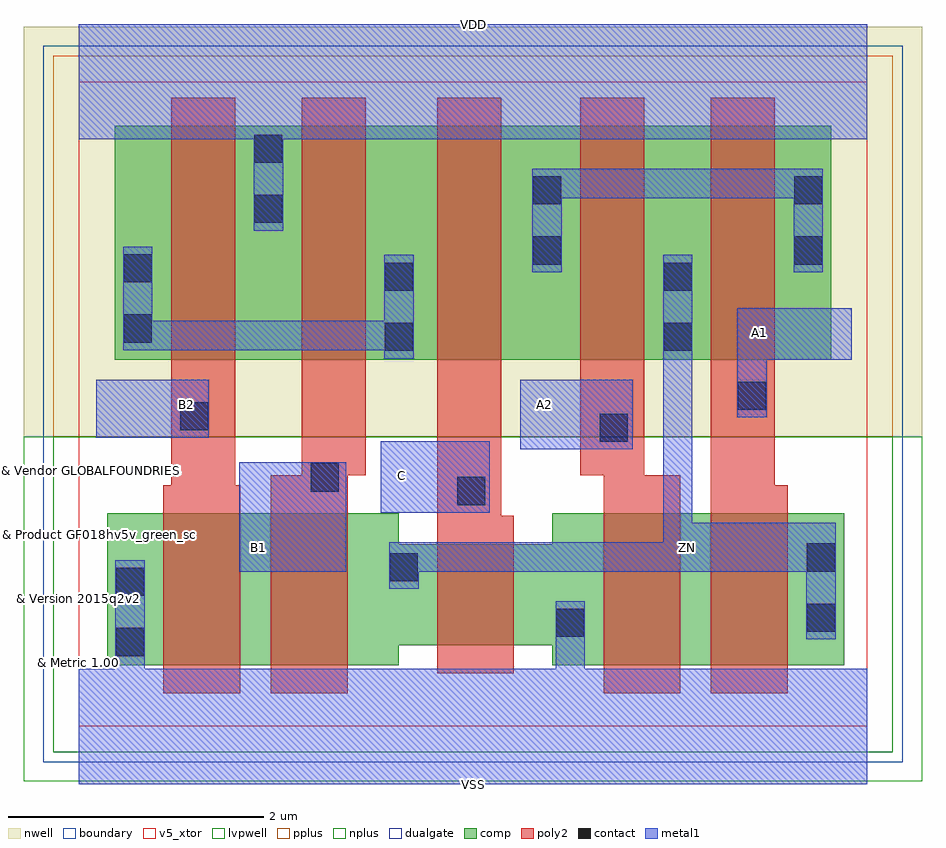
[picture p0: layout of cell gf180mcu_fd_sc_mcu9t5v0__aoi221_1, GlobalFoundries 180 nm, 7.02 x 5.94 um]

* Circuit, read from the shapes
.subckt gf180mcu_fd_sc_mcu9t5v0__aoi221_1 A1 A2 B1 B2 C VDD VSS ZN
XM1 n1 B2 VSS VSUBS nfet_05v0 w=1.185u l=0.6u
XM2 ZN B1 n1 VSUBS nfet_05v0 w=1.185u l=0.6u
XM3 VSS C ZN VSUBS nfet_05v0 w=0.79u l=0.6u
XM4 n2 A2 VSS VSUBS nfet_05v0 w=1.185u l=0.6u
XM5 ZN A1 n2 VSUBS nfet_05v0 w=1.185u l=0.6u
XM6 VDD B2 n3 n4 pfet_05v0 w=1.83u l=0.5u
XM7 n3 B1 VDD n4 pfet_05v0 w=1.83u l=0.5u
XM8 n5 C n3 n4 pfet_05v0 w=1.83u l=0.5u
XM9 ZN A2 n5 n4 pfet_05v0 w=1.83u l=0.5u
XM10 n5 A1 ZN n4 pfet_05v0 w=1.83u l=0.5u
.ends

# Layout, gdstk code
import gdstk
lib = gdstk.Library(unit=1e-6, precision=1e-09)
def R(c, l, rs):  # rectangles x0, y0, x1, y1
    for r in rs: c.add(gdstk.rectangle(r[:2], r[2:], *l))
def P(c, l, *ps):  # polygons
    for p in ps: c.add(gdstk.Polygon(p, *l))
boundary = (0, 0)
nwell = (21, 0)
comp = (22, 0)
poly2 = (30, 0)
pplus = (31, 0)
nplus = (32, 0)
contact = (33, 0)
metal1 = (34, 0)
dualgate = (55, 0)
v5_xtor = (112, 1)
lvpwell = (204, 0)

gf180mcu_fd_sc_mcu9t5v0_ = lib.new_cell('gf180mcu_fd_sc_mcu9t5v0__aoi221_1')
R(gf180mcu_fd_sc_mcu9t5v0_, boundary, [(0,0,6.16,5.04)])
R(gf180mcu_fd_sc_mcu9t5v0_, nwell, [(-0.43,2.265,6.59,5.47)])
R(gf180mcu_fd_sc_mcu9t5v0_, comp, [(0.28,2.865,5.88,4.695)])
P(gf180mcu_fd_sc_mcu9t5v0_, comp, [(0.22,0.48),(0.22,1.665),(2.5,1.665),(2.5,1.425),(3.7,1.425),(3.7,1.665),(5.98,1.665),(5.98,0.48),(3.7,0.48),(3.7,0.635),(2.5,0.635),(2.5,0.48)])
P(gf180mcu_fd_sc_mcu9t5v0_, poly2, [(0.66,0.26),(0.66,1.885),(0.72,1.885),(0.72,4.915),(1.22,4.915),(1.22,1.885),(1.26,1.885),(1.26,0.26)],
  [(1.5,0.26),(1.5,1.965),(1.74,1.965),(1.74,4.915),(2.24,4.915),(2.24,1.965),(2.1,1.965),(2.1,0.26)],
  [(2.8,0.415),(2.8,4.915),(3.3,4.915),(3.3,1.645),(3.4,1.645),(3.4,0.415)],
  [(4.1,0.26),(4.1,1.965),(3.92,1.965),(3.92,4.915),(4.42,4.915),(4.42,1.965),(4.7,1.965),(4.7,0.26)],
  [(4.94,0.26),(4.94,4.915),(5.44,4.915),(5.44,1.885),(5.54,1.885),(5.54,0.26)])
R(gf180mcu_fd_sc_mcu9t5v0_, pplus, [(-0.2,2.265,6.36,5.24)])
R(gf180mcu_fd_sc_mcu9t5v0_, nplus, [(-0.2,-0.2,6.36,2.265)])
R(gf180mcu_fd_sc_mcu9t5v0_, contact, [(0.29,0.55,0.51,0.77), (3.73,0.7,3.95,0.92), (5.69,0.74,5.91,0.96), (0.29,1.02,0.51,1.24), (2.43,1.135,2.65,1.355), (5.69,1.21,5.91,1.43), (2.955,1.73,3.175,1.95), (1.81,1.835,2.03,2.055), (4.07,2.225,4.29,2.445), (0.79,2.315,1.01,2.535), (5.15,2.475,5.37,2.695), (2.39,2.935,2.61,3.155), (4.57,2.935,4.79,3.155), (0.35,3,0.57,3.22), (2.39,3.405,2.61,3.625), (4.57,3.405,4.79,3.625), (0.35,3.47,0.57,3.69), (3.55,3.61,3.77,3.83), (5.59,3.61,5.81,3.83), (1.37,3.935,1.59,4.155), (3.55,4.08,3.77,4.3), (5.59,4.08,5.81,4.3), (1.37,4.405,1.59,4.625)])
R(gf180mcu_fd_sc_mcu9t5v0_, metal1, [(1.255,1.21,2.09,2.065), (2.36,1.67,3.21,2.23), (3.45,2.165,4.33,2.71), (0.135,2.255,1.015,2.71)])
P(gf180mcu_fd_sc_mcu9t5v0_, metal1, [(2.385,2.875),(2.385,2.94),(0.345,2.94),(0.345,3.75),(0.575,3.75),(0.575,3.17),(2.385,3.17),(2.385,3.685),(2.615,3.685),(2.615,2.875)],
  [(3.545,3.55),(3.545,4.36),(5.815,4.36),(5.815,3.55),(5.585,3.55),(5.585,4.13),(3.775,4.13),(3.775,3.55)],
  [(5.685,0.68),(5.685,1.21),(2.655,1.21),(2.655,1.075),(2.425,1.075),(2.425,1.44),(4.565,1.44),(4.565,3.685),(4.795,3.685),(4.795,1.59),(5.915,1.59),(5.915,0.68)],
  [(5.145,2.415),(5.145,3.27),(6.04,3.27),(6.04,2.865),(5.375,2.865),(5.375,2.415)],
  [(0,-0.45),(0,0.45),(0.285,0.45),(0.285,1.3),(0.515,1.3),(0.515,0.45),(3.725,0.45),(3.725,0.98),(3.955,0.98),(3.955,0.45),(6.16,0.45),(6.16,-0.45)],
  [(1.365,3.875),(1.365,4.59),(0,4.59),(0,5.49),(6.16,5.49),(6.16,4.59),(1.595,4.59),(1.595,3.875)])
R(gf180mcu_fd_sc_mcu9t5v0_, dualgate, [(-0.28,-0.28,6.44,5.32)])
R(gf180mcu_fd_sc_mcu9t5v0_, v5_xtor, [(0,0,6.16,5.04)])
R(gf180mcu_fd_sc_mcu9t5v0_, lvpwell, [(-0.43,-0.43,6.59,2.265)])
gf180mcu_fd_sc_mcu9t5v0_.add(gdstk.Label('A1', (5.32,3.08), layer=34, texttype=10))
gf180mcu_fd_sc_mcu9t5v0_.add(gdstk.Label('A2', (3.64,2.52), layer=34, texttype=10))
gf180mcu_fd_sc_mcu9t5v0_.add(gdstk.Label('B1', (1.4,1.4), layer=34, texttype=10))
gf180mcu_fd_sc_mcu9t5v0_.add(gdstk.Label('B2', (0.84,2.52), layer=34, texttype=10))
gf180mcu_fd_sc_mcu9t5v0_.add(gdstk.Label('C', (2.52,1.96), layer=34, texttype=10))
gf180mcu_fd_sc_mcu9t5v0_.add(gdstk.Label('VDD', (3.08,5.49), layer=34, texttype=10))
gf180mcu_fd_sc_mcu9t5v0_.add(gdstk.Label('VSS', (3.08,-0.45), layer=34, texttype=10))
gf180mcu_fd_sc_mcu9t5v0_.add(gdstk.Label('ZN', (4.76,1.4), layer=34, texttype=10))
gf180mcu_fd_sc_mcu9t5v0_.add(gdstk.Label('& Vendor GLOBALFOUNDRIES', (0,2), layer=63, texttype=63))
gf180mcu_fd_sc_mcu9t5v0_.add(gdstk.Label('& Product GF018hv5v_green_sc9', (0,1.5), layer=63, texttype=63))
gf180mcu_fd_sc_mcu9t5v0_.add(gdstk.Label('& Version 2015q2v2', (0,1), layer=63, texttype=63))
gf180mcu_fd_sc_mcu9t5v0_.add(gdstk.Label('& Metric 1.00', (0,0.5), layer=63, texttype=63))

lib.write_gds('gf180mcu_fd_sc_mcu9t5v0__aoi221_1.gds')
